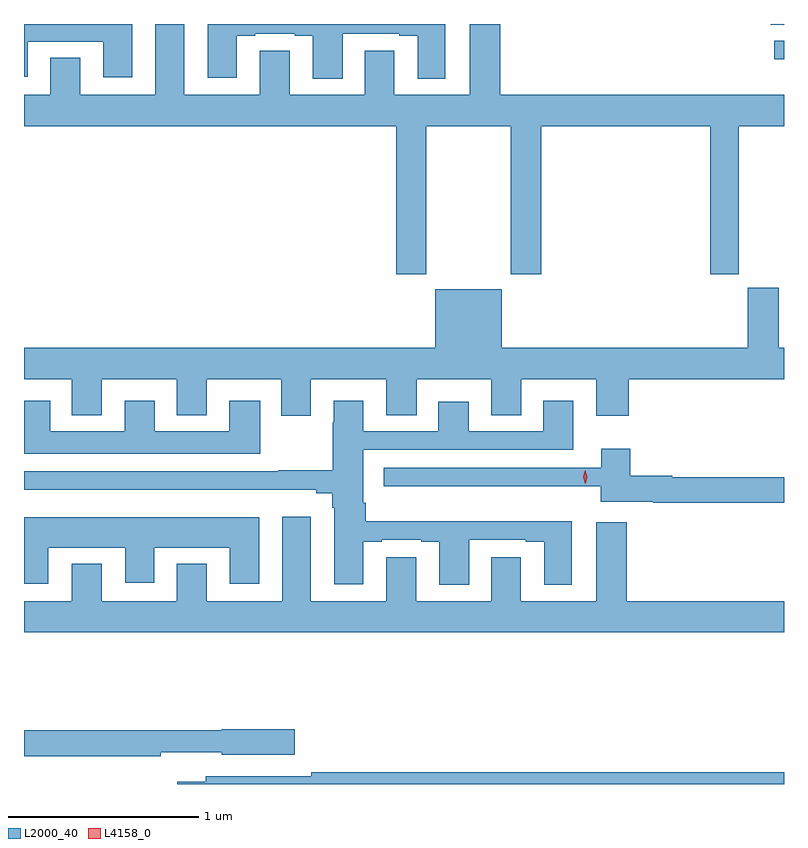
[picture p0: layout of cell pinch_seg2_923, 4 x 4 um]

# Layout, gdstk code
import gdstk
lib = gdstk.Library(unit=1e-6, precision=1e-09)
def R(c, l, rs):  # rectangles x0, y0, x1, y1
    for r in rs: c.add(gdstk.rectangle(r[:2], r[2:], *l))
def P(c, l, *ps):  # polygons
    for p in ps: c.add(gdstk.Polygon(p, *l))
L2000_40 = (2000, 40)
L4158_0 = (4158, 0)

pinch_seg2_923 = lib.new_cell('pinch_seg2_923')
R(pinch_seg2_923, L2000_40, [(368.055,634.668,368.107,634.764), (368.036,634.849,368.107,634.853)])
P(pinch_seg2_923, L2000_40, [(364.678,634.853),(364.107,634.853),(364.107,634.575),(364.126,634.575),(364.126,634.76),(364.523,634.76),(364.523,634.572),(364.678,634.572)],
  [(365.785,634.803),(366.083,634.803),(366.083,634.791),(366.179,634.791),(366.179,634.566),(366.325,634.566),(366.325,634.853),(365.075,634.853),(365.075,634.569),(365.227,634.569),(365.227,634.791),(365.323,634.791),(365.323,634.803),(365.531,634.803),(365.531,634.791),(365.627,634.791),(365.627,634.565),(365.785,634.565)],
  [(366.225,634.316),(366.67,634.316),(366.67,633.537),(366.83,633.537),(366.83,634.316),(367.718,634.316),(367.718,633.537),(367.87,633.537),(367.87,634.316),(368.107,634.316),(368.107,634.48),(366.613,634.48),(366.613,634.853),(366.452,634.853),(366.452,634.48),(366.055,634.48),(366.055,634.711),(365.9,634.711),(365.9,634.48),(365.506,634.48),(365.506,634.711),(365.348,634.711),(365.348,634.48),(364.951,634.48),(364.951,634.853),(364.799,634.853),(364.799,634.48),(364.402,634.48),(364.402,634.675),(364.244,634.675),(364.244,634.48),(364.107,634.48),(364.107,634.316),(366.065,634.316),(366.065,633.537),(366.225,633.537)],
  [(365.617,632.984),(366.014,632.984),(366.014,632.794),(366.175,632.794),(366.175,632.984),(366.566,632.984),(366.566,632.794),(366.724,632.794),(366.724,632.984),(367.118,632.984),(367.118,632.79),(367.289,632.79),(367.289,632.984),(368.107,632.984),(368.107,633.148),(368.08,633.148),(368.08,633.465),(367.916,633.465),(367.916,633.148),(366.622,633.148),(366.622,633.457),(366.272,633.457),(366.272,633.148),(364.107,633.148),(364.107,632.984),(364.358,632.984),(364.358,632.795),(364.516,632.795),(364.516,632.984),(364.91,632.984),(364.91,632.795),(365.068,632.795),(365.068,632.984),(365.462,632.984),(365.462,632.79),(365.617,632.79)],
  [(366.451,632.139),(366.749,632.139),(366.749,632.127),(366.845,632.127),(366.845,631.902),(366.991,631.902),(366.991,632.237),(365.906,632.237),(365.906,632.332),(365.893,632.332),(365.893,632.613),(366.997,632.613),(366.997,632.869),(366.839,632.869),(366.839,632.709),(366.448,632.709),(366.448,632.866),(366.287,632.866),(366.287,632.709),(365.893,632.709),(365.893,632.869),(365.738,632.869),(365.738,632.756),(365.731,632.756),(365.731,632.504),(365.446,632.504),(365.446,632.499),(364.107,632.499),(364.107,632.402),(365.645,632.402),(365.645,632.383),(365.729,632.383),(365.729,632.306),(365.741,632.306),(365.741,631.905),(365.893,631.905),(365.893,632.127),(365.989,632.127),(365.989,632.139),(366.197,632.139),(366.197,632.127),(366.293,632.127),(366.293,631.901),(366.451,631.901)],
  [(365.35,632.869),(365.186,632.869),(365.186,632.71),(364.795,632.71),(364.795,632.869),(364.637,632.869),(364.637,632.71),(364.246,632.71),(364.246,632.869),(364.107,632.869),(364.107,632.591),(365.35,632.591)],
  [(368.107,632.468),(367.518,632.468),(367.518,632.476),(367.298,632.476),(367.298,632.617),(367.145,632.617),(367.145,632.517),(366,632.517),(366,632.42),(367.142,632.42),(367.142,632.339),(367.418,632.339),(367.418,632.332),(368.107,632.332)],
  [(368.107,631.816),(367.279,631.816),(367.279,632.23),(367.118,632.23),(367.118,631.816),(366.721,631.816),(366.721,632.047),(366.566,632.047),(366.566,631.816),(366.172,631.816),(366.172,632.047),(366.014,632.047),(366.014,631.816),(365.617,631.816),(365.617,632.26),(365.465,632.26),(365.465,631.816),(365.068,631.816),(365.068,632.011),(364.91,632.011),(364.91,631.816),(364.516,631.816),(364.516,632.011),(364.358,632.011),(364.358,631.816),(364.107,631.816),(364.107,631.652),(368.107,631.652)],
  [(364.234,632.096),(364.64,632.096),(364.64,631.911),(364.792,631.911),(364.792,632.096),(365.189,632.096),(365.189,631.908),(365.344,631.908),(365.344,632.257),(364.107,632.257),(364.107,631.908),(364.234,631.908)],
  [(364.826,631.02),(365.148,631.02),(365.148,631.007),(365.533,631.007),(365.533,631.142),(365.148,631.142),(365.148,631.136),(364.107,631.136),(364.107,631),(364.826,631)],
  [(368.107,630.914),(365.62,630.914),(365.62,630.894),(365.063,630.894),(365.063,630.865),(364.914,630.865),(364.914,630.853),(368.107,630.853)])
P(pinch_seg2_923, L4158_0, [(367.06,632.432),(367.06,632.433),(367.051,632.469),(367.061,632.504),(367.062,632.504),(367.062,632.504),(367.071,632.468),(367.06,632.433)])

lib.write_gds('pinch_seg2_923.gds')
